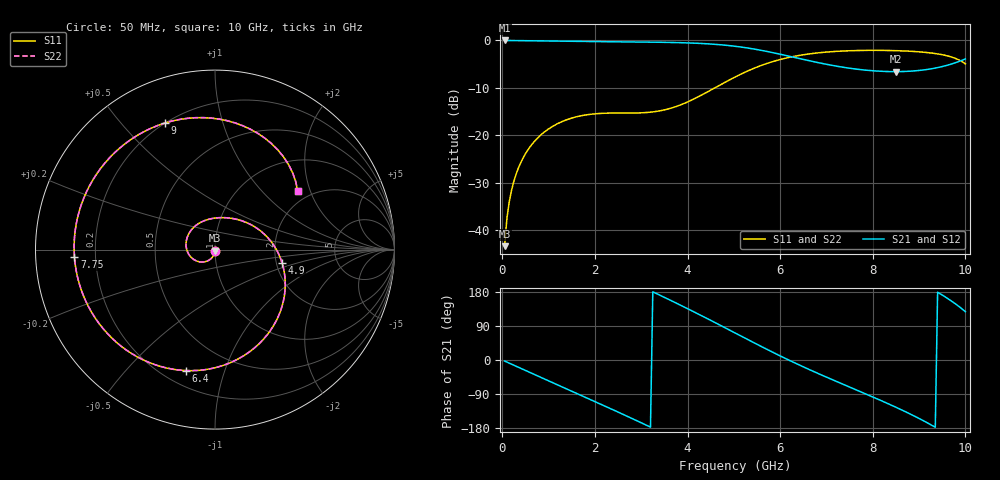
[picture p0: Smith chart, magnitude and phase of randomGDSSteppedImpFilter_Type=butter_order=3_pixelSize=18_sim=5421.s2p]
! freq	dB(S11)	phase(S11)	dB(S12)	phase(S12)
!  dB(S21)	phase(S21)	dB(S22)	phase(S22)
!S-par simulation data
#  GHz  S  DB  R 50
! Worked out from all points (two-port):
!   200 points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, 50 MHz to 10 GHz, reference 50 ohm
!   highest |S21| = 0.00 dB at 50 MHz (marker M1); lowest = -6.6 dB at 8.5 GHz (marker M2)
!   |S21| within 3 dB of the highest: start of sweep to 6.045 GHz
!   lowest |S11| = -43.4 dB at 50 MHz (marker M3), VSWR 1.01, Z = 50 - j0.676 ohm
!   |S11| at or under -10 dB: start of sweep to 4.59 GHz
!   |S22| runs from -43.4 to -2.1 dB; largest |S21 - S12| = 0
!   S11 on the Smith chart (normalised r, x): 50 MHz: 1.00, -0.01; 4.9 GHz: 2.15, -0.39; 6.4 GHz: 0.29, -0.75; 7.75 GHz: 0.12, -0.03; 9 GHz: 0.20, +0.66; 10 GHz: 1.70, +1.65
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0.05  -43.39 -90.6  -0.00 -2.8  -0.00 -2.8  -43.39 -90.5
0.1  -37.52 -94.3  -0.01 -5.6  -0.01 -5.6  -37.52 -94.2
0.2  -31.60 -100.6  -0.02 -11.1  -0.02 -11.1  -31.59 -100.7
0.5  -23.90 -118.0  -0.06 -27.6  -0.06 -27.6  -23.90 -118.0
1.15  -17.77 -154.0  -0.15 -63.1  -0.15 -63.1  -17.77 -154.0
1.75  -15.80 173.1  -0.23 -95.9  -0.23 -95.9  -15.80 173.1
2.65  -15.32 123.2  -0.31 -145.8  -0.31 -145.8  -15.31 123.1
3.4  -14.85 80.0  -0.38 171.2  -0.38 171.2  -14.85 79.9
3.8  -13.78 56.3  -0.46 147.6  -0.46 147.6  -13.78 56.2
4.25  -11.80 29.0  -0.62 120.2  -0.62 120.2  -11.79 28.9
4.9  -8.35 -11.6  -1.09 79.4  -1.09 79.4  -8.35 -11.7
5.05  -7.60 -21.1  -1.26 69.9  -1.26 69.9  -7.59 -21.1
5.7  -4.90 -61.9  -2.29 29.0  -2.29 29.0  -4.90 -61.9
6.4  -3.18 -103.5  -3.79 -12.4  -3.79 -12.4  -3.18 -103.6
6.7  -2.75 -120.4  -4.43 -29.1  -4.43 -29.1  -2.75 -120.5
7.25  -2.28 -150.3  -5.48 -58.4  -5.48 -58.4  -2.28 -150.4
7.75  -2.11 -176.9  -6.17 -84.4  -6.17 -84.4  -2.11 -177.0
8.35  -2.12 150.3  -6.57 -116.3  -6.57 -116.3  -2.12 150.2
8.5  -2.16 141.8  -6.58 -124.7  -6.58 -124.7  -2.16 141.6
9  -2.40 111.6  -6.34 -154.2  -6.34 -154.2  -2.40 111.5
9.5  -3.01 77.4  -5.51 171.5  -5.51 171.5  -3.01 77.3
10  -4.95 35.5  -3.90 127.5  -3.90 127.5  -4.95 35.5
